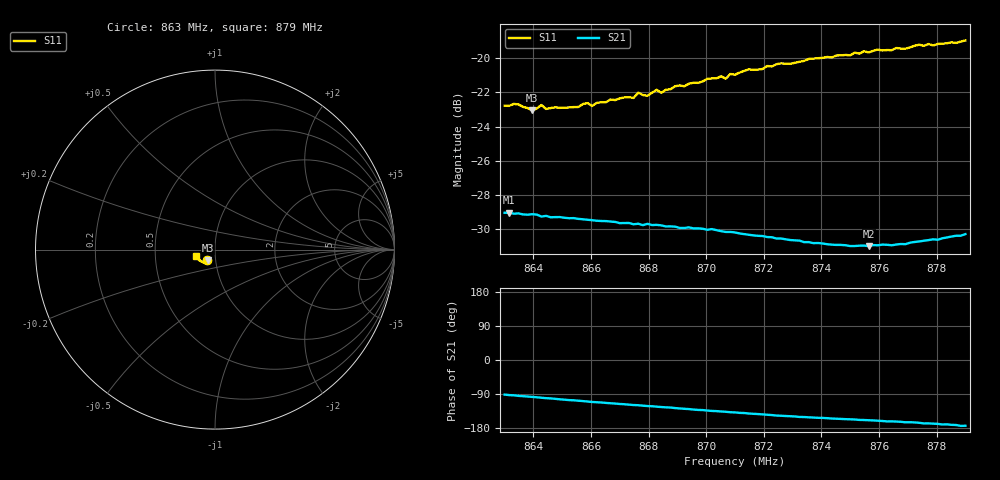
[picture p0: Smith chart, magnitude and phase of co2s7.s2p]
# HZ S RI R 50
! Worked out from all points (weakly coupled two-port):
!   101 points, 863 MHz to 879 MHz, reference 50 ohm
!   highest |S21| = -29.02 dB at 863.16 MHz (marker M1); lowest = -31.0 dB at 875.64 MHz (marker M2)
!   lowest |S11| = -23.1 dB at 863.96 MHz (marker M3), VSWR 1.15, Z = 46 - j5.41 ohm
!   |S11| at or under -10 dB: start of sweep to end of sweep
!   S12 and S22 are empty: the file has one direction only
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8.63e8  -0.0428 -0.0586  -0.000805 -0.0354  0 0  0 0
8.6316e8  -0.0427 -0.0586  -0.0016 -0.0354  0 0  0 0
8.6348e8  -0.0423 -0.0597  -0.00283 -0.0351  0 0  0 0
8.6396e8  -0.0389 -0.0586  -0.00453 -0.0347  0 0  0 0
8.6428e8  -0.0404 -0.0607  -0.00571 -0.034  0 0  0 0
8.6444e8  -0.0393 -0.0592  -0.00645 -0.034  0 0  0 0
8.6556e8  -0.0377 -0.0613  -0.0101 -0.0324  0 0  0 0
8.6572e8  -0.0376 -0.0631  -0.0107 -0.0321  0 0  0 0
8.6604e8  -0.0373 -0.0622  -0.0119 -0.0315  0 0  0 0
8.6668e8  -0.039 -0.0649  -0.0136 -0.0304  0 0  0 0
8.6748e8  -0.0394 -0.0656  -0.0158 -0.0287  0 0  0 0
8.6764e8  -0.0418 -0.0673  -0.0161 -0.0286  0 0  0 0
8.6796e8  -0.0408 -0.066  -0.0172 -0.028  0 0  0 0
8.6828e8  -0.042 -0.069  -0.0178 -0.0273  0 0  0 0
8.6844e8  -0.0421 -0.067  -0.0182 -0.0269  0 0  0 0
8.6892e8  -0.0445 -0.0698  -0.0193 -0.0258  0 0  0 0
8.71e8  -0.0543 -0.071  -0.0231 -0.0206  0 0  0 0
8.7148e8  -0.0576 -0.0726  -0.0238 -0.0191  0 0  0 0
8.7372e8  -0.0727 -0.0682  -0.0254 -0.0136  0 0  0 0
8.7564e8  -0.0853 -0.0592  -0.0264 -0.0101  0 0  0 0
8.7644e8  -0.0895 -0.0558  -0.027 -0.0088  0 0  0 0
8.79e8  -0.1063 -0.0369  -0.0304 -0.00349  0 0  0 0
